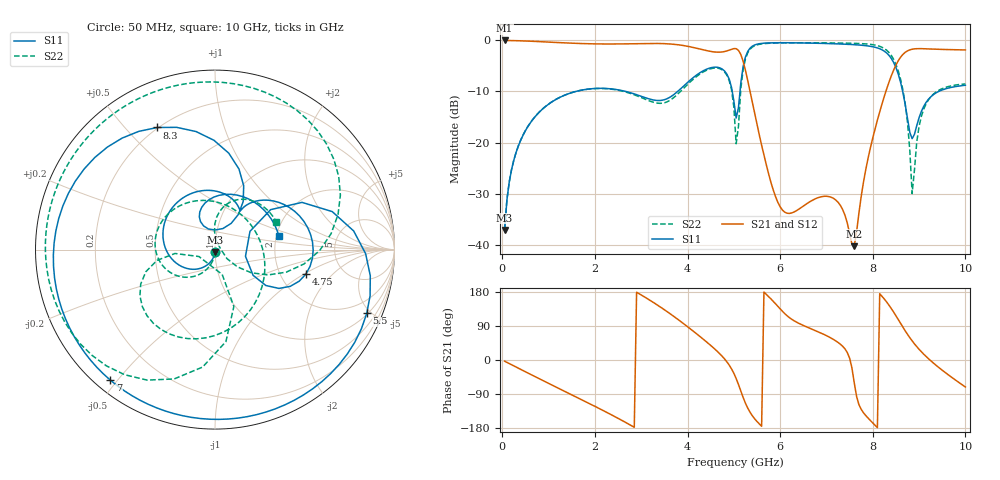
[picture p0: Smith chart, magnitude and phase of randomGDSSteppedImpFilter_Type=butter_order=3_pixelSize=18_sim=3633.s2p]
! freq	dB(S11)	phase(S11)	dB(S12)	phase(S12)
!  dB(S21)	phase(S21)	dB(S22)	phase(S22)
!S-par simulation data
#  GHz  S  DB  R 50
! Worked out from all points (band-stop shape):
!   200 points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, 50 MHz to 10 GHz, reference 50 ohm
!   highest |S21| = -0.01 dB at 50 MHz (marker M1); lowest = -40.3 dB at 7.6 GHz (marker M2)
!   |S21| within 3 dB of the highest: start of sweep to 5.16 GHz; 8.626 GHz to end of sweep
!   lowest |S11| = -37.1 dB at 50 MHz (marker M3), VSWR 1.03, Z = 50 - j1.39 ohm
!   |S11| at or under -10 dB: start of sweep to 1.586 GHz; 2.667 GHz to 3.786 GHz (1.118 GHz wide, 34.7 % of centre); 8.646 GHz to 9.423 GHz (776.5 MHz wide, 8.59 % of centre) (the widest 3 of 4)
!   |S22| runs from -37.1 to -0.5 dB; largest |S21 - S12| = 0
!   S11 on the Smith chart (normalised r, x): 50 MHz: 1.00, -0.03; 4.75 GHz: 2.76, -1.04; 5.5 GHz: 1.06, -4.74; 7 GHz: 0.04, -0.48; 8.3 GHz: 0.20, +0.62; 10 GHz: 2.06, +0.37
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0.05  -37.12 -89.8  -0.01 -3.2  -0.01 -3.2  -37.09 -88.6
0.2  -25.29 -104.5  -0.04 -12.5  -0.04 -12.5  -25.27 -99.6
0.5  -17.66 -127.5  -0.12 -31.1  -0.12 -31.1  -17.64 -115.4
1.75  -9.67 142.0  -0.63 -107.0  -0.63 -107.0  -9.68 -177.2
2.7  -10.08 79.8  -0.67 -167.2  -0.67 -167.2  -10.19 125.5
3.4  -11.77 57.0  -0.61 140.9  -0.61 140.9  -12.32 44.3
4.05  -7.84 42.7  -1.24 83.2  -1.24 83.2  -8.20 -59.4
4.75  -5.62 -15.2  -2.26 9.6  -2.26 9.6  -5.77 -141.9
4.95  -9.20 -35.2  -1.74 -23.4  -1.74 -23.4  -9.66 -169.5
5.05  -15.20 -12.4  -1.63 -48.9  -1.63 -48.9  -20.22 -156.7
5.25  -3.27 18.0  -5.83 -113.8  -5.83 -113.8  -3.64 -96.0
5.5  -0.75 -22.8  -16.46 -162.3  -16.46 -162.3  -0.88 -139.3
6.05  -0.46 -69.2  -33.21 128.4  -33.21 128.4  -0.49 177.5
6.7  -0.54 -110.2  -31.27 80.8  -31.27 80.8  -0.47 142.7
7  -0.61 -128.7  -30.51 64.3  -30.51 64.3  -0.49 127.4
7.6  -0.84 -170.0  -40.28 -60.1  -40.28 -60.1  -0.58 93.7
8.3  -2.47 115.3  -9.51 153.0  -9.51 153.0  -1.93 30.6
8.35  -2.93 107.4  -8.18 144.7  -8.18 144.7  -2.36 23.5
8.7  -12.54 56.3  -2.34 77.0  -2.34 77.0  -12.38 -32.5
8.85  -19.24 89.7  -1.73 50.4  -1.73 50.4  -29.99 6.2
9.15  -12.15 107.5  -1.65 9.4  -1.65 9.4  -12.45 79.5
10  -8.78 12.3  -1.87 -71.2  -1.87 -71.2  -8.52 24.4
